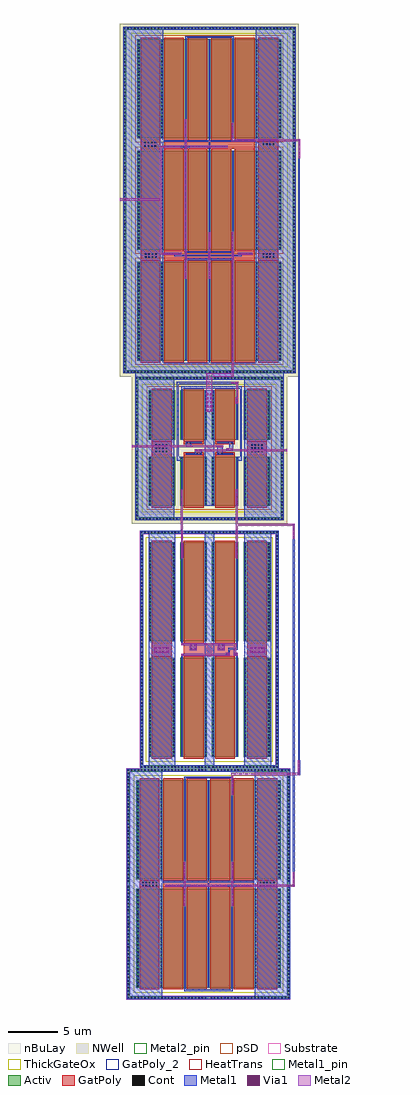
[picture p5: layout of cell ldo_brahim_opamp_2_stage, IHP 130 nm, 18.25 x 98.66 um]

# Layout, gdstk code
from math import pi, radians
import gdstk
lib = gdstk.Library(unit=1e-6, precision=1e-09)
def R(c, l, rs):  # rectangles x0, y0, x1, y1
    for r in rs: c.add(gdstk.rectangle(r[:2], r[2:], *l))
def A(c, l, x, y, w, h, nx, ny, dx, dy):  # array of equal rectangles
    R(c, l, [(x+i*dx, y+j*dy, x+i*dx+w, y+j*dy+h) for i in range(nx) for j in range(ny)])
def P(c, l, *ps):  # polygons
    for p in ps: c.add(gdstk.Polygon(p, *l))
Activ = (1, 0)
GatPoly = (5, 0)
GatPoly_2 = (5, 2)
Cont = (6, 0)
Metal1 = (8, 0)
Metal1_pin = (8, 2)
Metal2 = (10, 0)
Metal2_pin = (10, 2)
pSD = (14, 0)
Via1 = (19, 0)
NWell = (31, 0)
nBuLay = (32, 0)
Substrate = (40, 0)
ThickGateOx = (44, 0)
HeatTrans = (51, 0)

pmoshv_1 = lib.new_cell('pmosHV$1')
R(pmoshv_1, Activ, [(0,0,0.3,0.3), (0,0,2.68,5), (2.38,0,2.68,0.3)])
R(pmoshv_1, GatPoly, [(0.34,-0.18,2.34,5.18)])
R(pmoshv_1, GatPoly_2, [(0.34,-0.18,2.34,5.18)])
A(pmoshv_1, Cont, 0.07, 0.07, 0.16, 0.16, 1, 4, 0, 0.36)
A(pmoshv_1, Cont, 2.45, 0.07, 0.16, 0.16, 1, 4, 0, 0.36)
A(pmoshv_1, Cont, 0.07, 1.515, 0.16, 0.16, 1, 3, 0, 0.36)
A(pmoshv_1, Cont, 2.45, 1.515, 0.16, 0.16, 1, 3, 0, 0.36)
A(pmoshv_1, Cont, 0.07, 2.6, 0.16, 0.16, 1, 3, 0, 0.36)
A(pmoshv_1, Cont, 2.45, 2.6, 0.16, 0.16, 1, 3, 0, 0.36)
A(pmoshv_1, Cont, 0.07, 3.685, 0.16, 0.16, 1, 3, 0, 0.36)
A(pmoshv_1, Cont, 2.45, 3.685, 0.16, 0.16, 1, 3, 0, 0.36)
R(pmoshv_1, Cont, [(0.07,4.77,0.23,4.93), (2.45,4.77,2.61,4.93)])
R(pmoshv_1, Metal1, [(0.07,0,0.23,5), (2.45,0,2.61,5)])
R(pmoshv_1, Metal1_pin, [(0.07,0,0.23,5), (2.45,0,2.61,5)])
R(pmoshv_1, pSD, [(-0.18,-0.4,2.86,5.4)])
R(pmoshv_1, NWell, [(-0.62,-0.62,3.3,5.62)])
R(pmoshv_1, Substrate, [(2.38,0,2.68,0.3)])
R(pmoshv_1, ThickGateOx, [(-0.62,-0.62,3.3,5.62)])
R(pmoshv_1, HeatTrans, [(0.34,-0.18,2.34,5.18)])
pmoshv_1.add(gdstk.Label('pmosHV', (1.34,2.5), layer=63, texttype=0))
pmoshv_1.add(gdstk.Label('pmos', (1.34,2.5), layer=51, texttype=0))

via_stack_5 = lib.new_cell('via_stack$5')
R(via_stack_5, GatPoly, [(-0.83,-0.15,0.83,0.15)])
A(via_stack_5, Cont, -0.76, -0.08, 0.16, 0.16, 5, 1, 0.34, 0)
R(via_stack_5, Metal1, [(-0.81,-0.08,0.81,0.08)])

via_stack_6 = lib.new_cell('via_stack$6')
R(via_stack_6, Metal1, [(-0.35,-0.105,0.35,0.105)])
R(via_stack_6, Metal2, [(-0.35,-0.1,0.35,0.1)])
R(via_stack_6, Via1, [(-0.3,-0.095,-0.11,0.095), (0.11,-0.095,0.3,0.095)])

guard_ring_1 = lib.new_cell('guard_ring$1')
R(guard_ring_1, Activ, [(-7.5,-6.95,-7.2,6.95), (7.2,-6.95,7.5,6.95), (-7.5,6.95,7.5,7.25)])
P(guard_ring_1, Activ, [(-7.5,-7.25),(-7.5,6.95),(-7.2,6.95),(-7.2,-6.95),(7.2,-6.95),(7.2,6.95),(-7.5,6.95),(-7.5,7.25),(7.5,7.25),(7.5,-7.25)])
A(guard_ring_1, Cont, -7.43, -7.18, 0.16, 0.16, 22, 2, 0.34, 14.2)
A(guard_ring_1, Cont, 0.13, -7.18, 0.16, 0.16, 22, 2, 0.34, 14.2)
A(guard_ring_1, Cont, -7.43, -6.84, 0.16, 0.16, 1, 20, 0, 0.34)
A(guard_ring_1, Cont, 7.27, -6.84, 0.16, 0.16, 1, 20, 0, 0.34)
A(guard_ring_1, Cont, -7.43, 0.22, 0.16, 0.16, 1, 20, 0, 0.34)
A(guard_ring_1, Cont, 7.27, 0.22, 0.16, 0.16, 1, 20, 0, 0.34)
R(guard_ring_1, Metal1, [(-7.5,-7.25,7.5,-6.95), (-7.5,-6.95,-7.2,6.95), (7.2,-6.95,7.5,6.95), (-7.5,6.95,7.5,7.25)])
R(guard_ring_1, NWell, [(-7.85,-7.6,7.85,7.6)])
R(guard_ring_1, nBuLay, [(-7.85,-6.6,-6.85,6.6), (6.85,-6.6,7.85,6.6), (-7.85,6.6,7.85,7.6)])
P(guard_ring_1, nBuLay, [(-7.85,-7.6),(-7.85,6.6),(-6.85,6.6),(-6.85,-6.6),(6.85,-6.6),(6.85,6.6),(-7.85,6.6),(-7.85,7.6),(7.85,7.6),(7.85,-7.6)])
guard_ring_1.add(gdstk.Label('well', (0,-7.1), layer=63, texttype=0))

via_stack = lib.new_cell('via_stack')
R(via_stack, Metal1, [(-0.105,-0.555,0.105,0.555)])
R(via_stack, Metal2, [(-0.1,-0.555,0.1,0.555)])
A(via_stack, Via1, -0.095, -0.505, 0.19, 0.19, 1, 3, 0, 0.41)

via_stack_9 = lib.new_cell('via_stack$9')
R(via_stack_9, GatPoly, [(-0.66,-0.49,0.66,0.49)])
A(via_stack_9, Cont, -0.59, -0.42, 0.16, 0.16, 4, 3, 0.34, 0.34)
R(via_stack_9, Metal1, [(-0.64,-0.42,0.64,0.42)])

via_stack_8 = lib.new_cell('via_stack$8')
R(via_stack_8, Metal1, [(-0.31,-0.965,0.31,0.965)])
R(via_stack_8, Metal2, [(-0.305,-0.965,0.305,0.965)])
A(via_stack_8, Via1, -0.3, -0.915, 0.19, 0.19, 1, 5, 0, 0.41)
A(via_stack_8, Via1, 0.11, -0.915, 0.19, 0.19, 1, 5, 0, 0.41)

via_stack_23 = lib.new_cell('via_stack$23')
R(via_stack_23, Metal1, [(-0.76,-0.105,0.76,0.105)])
R(via_stack_23, Metal2, [(-0.76,-0.1,0.76,0.1)])
A(via_stack_23, Via1, -0.71, -0.095, 0.19, 0.19, 4, 1, 0.41, 0)

via_stack_22 = lib.new_cell('via_stack$22')
R(via_stack_22, Metal1, [(-0.105,-0.35,0.105,0.35)])
R(via_stack_22, Metal2, [(-0.1,-0.35,0.1,0.35)])
R(via_stack_22, Via1, [(-0.095,-0.3,0.095,-0.11), (-0.095,0.11,0.095,0.3)])

ldo_brahim_pair_diff = lib.new_cell('ldo_brahim_pair_diff')
R(ldo_brahim_pair_diff, GatPoly, [(7.375,-1.01,9.375,0.575), (-2.235,-0.975,-0.235,0.555), (0.985,-0.92,2.985,-0.635), (4.155,-0.92,6.155,-0.635), (0.985,0.2,2.985,0.485), (4.155,0.2,6.155,0.485)])
R(ldo_brahim_pair_diff, Metal1, [(-3.93,-7.485,0.035,7.015), (7.105,-7.485,11.07,7.015), (3.095,-6.055,4.045,5.63), (0.285,-1.485,0.875,-1.055), (0.285,-1.485,0.465,6.03), (6.265,-1.485,6.855,-1.055), (6.675,-1.485,6.855,6.49), (2.235,-0.865,2.785,0.01), (4.335,-0.865,5.05,-0.315), (1.165,-0.435,1.575,0.43), (5.405,-0.04,5.955,0.43), (6.265,5.48,6.425,6.03), (0.285,5.81,6.415,6.03), (0.715,6.27,6.855,6.49)])
R(ldo_brahim_pair_diff, Metal1_pin, [(1.065,6.715,6.78,7.015)])
R(ldo_brahim_pair_diff, Metal2, [(0.695,-7.835,0.895,-5.67), (6.24,-7.835,6.44,-4.855), (-4.28,-0.53,1.62,-0.33), (1.165,-0.53,4.885,-0.33), (2.235,-0.115,5.955,0.085), (5.59,-0.115,11.42,0.085), (0.65,4.285,0.875,6.48), (3.265,5.345,3.875,7.365)])
P(ldo_brahim_pair_diff, Metal2, [(0.6,-7.88),(0.6,-7.88),(0.6,-7.88),(0.6,-7.88)])
R(ldo_brahim_pair_diff, Metal2_pin, [(0.695,-7.835,0.895,-7.63), (6.24,-7.835,6.44,-7.625), (-4.28,-0.53,-4.025,-0.33), (11.165,-0.115,11.42,0.085), (3.265,7.07,3.875,7.365)])
R(ldo_brahim_pair_diff, pSD, [(-2.755,-6.455,9.895,6.03)])
R(ldo_brahim_pair_diff, NWell, [(-3.195,-1.405,10.335,0.51)])
R(ldo_brahim_pair_diff, ThickGateOx, [(-3.195,-6.675,10.335,6.25)])
ldo_brahim_pair_diff.add(gdstk.Reference(pmoshv_1, (0.645,0.63)))
ldo_brahim_pair_diff.add(gdstk.Reference(pmoshv_1, (3.815,0.63)))
ldo_brahim_pair_diff.add(gdstk.Reference(pmoshv_1, (-2.575,0.63)))
ldo_brahim_pair_diff.add(gdstk.Reference(pmoshv_1, (7.035,0.63)))
ldo_brahim_pair_diff.add(gdstk.Reference(pmoshv_1, (0.645,-6.055)))
ldo_brahim_pair_diff.add(gdstk.Reference(pmoshv_1, (3.815,-6.055)))
ldo_brahim_pair_diff.add(gdstk.Reference(pmoshv_1, (-2.575,-6.055)))
ldo_brahim_pair_diff.add(gdstk.Reference(pmoshv_1, (7.035,-6.055)))
ldo_brahim_pair_diff.add(gdstk.Reference(via_stack_5, (1.975,0.35)))
ldo_brahim_pair_diff.add(gdstk.Reference(via_stack_5, (5.145,0.35)))
ldo_brahim_pair_diff.add(gdstk.Reference(via_stack_5, (5.145,-0.785), x_reflection=True))
ldo_brahim_pair_diff.add(gdstk.Reference(via_stack_5, (1.975,-0.785), x_reflection=True))
ldo_brahim_pair_diff.add(gdstk.Reference(via_stack_6, (2.52,-0.015)))
ldo_brahim_pair_diff.add(gdstk.Reference(via_stack_6, (5.605,-0.015)))
ldo_brahim_pair_diff.add(gdstk.Reference(via_stack_6, (4.685,-0.43)))
ldo_brahim_pair_diff.add(gdstk.Reference(guard_ring_1, (3.57,-0.235)))
ldo_brahim_pair_diff.add(gdstk.Reference(via_stack, (6.34,-4.95)))
ldo_brahim_pair_diff.add(gdstk.Reference(via_stack_9, (-1.24,-0.21)))
ldo_brahim_pair_diff.add(gdstk.Reference(via_stack_9, (8.425,-0.21)))
ldo_brahim_pair_diff.add(gdstk.Reference(via_stack_8, (3.57,4.42)))
ldo_brahim_pair_diff.add(gdstk.Reference(via_stack_23, (0.795,-5.125), rotation=3*pi/2))
ldo_brahim_pair_diff.add(gdstk.Reference(via_stack_6, (1.515,-0.33)))
ldo_brahim_pair_diff.add(gdstk.Reference(via_stack_22, (1,6.38), rotation=pi/2))
ldo_brahim_pair_diff.add(gdstk.Reference(via_stack_22, (0.78,4.635), rotation=pi))
ldo_brahim_pair_diff.add(gdstk.Label('IOVDD', (4.935,7.015), layer=8, texttype=2))
ldo_brahim_pair_diff.add(gdstk.Label('VN', (-4.045,-0.43), layer=10, texttype=2))
ldo_brahim_pair_diff.add(gdstk.Label('tail', (3.57,7.365), layer=10, texttype=2))
ldo_brahim_pair_diff.add(gdstk.Label('VP', (11.42,-0.015), layer=10, texttype=2))
ldo_brahim_pair_diff.add(gdstk.Label('VG', (0.793,-7.835), layer=10, texttype=2))
ldo_brahim_pair_diff.add(gdstk.Label('VX2', (6.34,-7.835), layer=10, texttype=2))

nmoshv = lib.new_cell('nmosHV')
R(nmoshv, Activ, [(0,0,0.3,0.3), (0,0,2.68,10), (2.38,0,2.68,0.3)])
R(nmoshv, GatPoly, [(0.34,-0.18,2.34,10.18)])
R(nmoshv, GatPoly_2, [(0.34,-0.18,2.34,10.18)])
A(nmoshv, Cont, 0.07, 0.07, 0.16, 0.16, 1, 4, 0, 0.345)
A(nmoshv, Cont, 2.45, 0.07, 0.16, 0.16, 1, 4, 0, 0.345)
A(nmoshv, Cont, 0.07, 1.455, 0.16, 0.16, 1, 3, 0, 0.345)
A(nmoshv, Cont, 2.45, 1.455, 0.16, 0.16, 1, 3, 0, 0.345)
A(nmoshv, Cont, 0.07, 2.495, 0.16, 0.16, 1, 4, 0, 0.345)
A(nmoshv, Cont, 2.45, 2.495, 0.16, 0.16, 1, 4, 0, 0.345)
A(nmoshv, Cont, 0.07, 3.88, 0.16, 0.16, 1, 3, 0, 0.345)
A(nmoshv, Cont, 2.45, 3.88, 0.16, 0.16, 1, 3, 0, 0.345)
A(nmoshv, Cont, 0.07, 4.92, 0.16, 0.16, 1, 4, 0, 0.345)
A(nmoshv, Cont, 2.45, 4.92, 0.16, 0.16, 1, 4, 0, 0.345)
A(nmoshv, Cont, 0.07, 6.305, 0.16, 0.16, 1, 3, 0, 0.345)
A(nmoshv, Cont, 2.45, 6.305, 0.16, 0.16, 1, 3, 0, 0.345)
A(nmoshv, Cont, 0.07, 7.345, 0.16, 0.16, 1, 4, 0, 0.345)
A(nmoshv, Cont, 2.45, 7.345, 0.16, 0.16, 1, 4, 0, 0.345)
A(nmoshv, Cont, 0.07, 8.73, 0.16, 0.16, 1, 3, 0, 0.345)
A(nmoshv, Cont, 2.45, 8.73, 0.16, 0.16, 1, 3, 0, 0.345)
R(nmoshv, Cont, [(0.07,9.77,0.23,9.93), (2.45,9.77,2.61,9.93)])
R(nmoshv, Metal1, [(0.07,0,0.23,10), (2.45,0,2.61,10)])
R(nmoshv, Metal1_pin, [(0.07,0,0.23,10), (2.45,0,2.61,10)])
R(nmoshv, ThickGateOx, [(-0.27,-0.52,2.95,10.52)])
R(nmoshv, HeatTrans, [(0.34,-0.18,2.34,10.18)])
nmoshv.add(gdstk.Label('nmosHV', (1.34,5), layer=63, texttype=0))
nmoshv.add(gdstk.Label('nmosHV', (1.34,5), layer=51, texttype=0))

via_stack_1 = lib.new_cell('via_stack$1')
R(via_stack_1, GatPoly, [(-0.32,-0.32,0.32,0.32)])
R(via_stack_1, Cont, [(-0.25,-0.25,-0.09,-0.09), (0.09,-0.25,0.25,-0.09), (-0.25,0.09,-0.09,0.25), (0.09,0.09,0.25,0.25)])
R(via_stack_1, Metal1, [(-0.35,-0.31,0.35,0.31)])
R(via_stack_1, Metal2, [(-0.35,-0.305,0.35,0.305)])
R(via_stack_1, Via1, [(-0.3,-0.3,-0.11,-0.11), (0.11,-0.3,0.3,-0.11), (-0.3,0.11,-0.11,0.3), (0.11,0.11,0.3,0.3)])

via_stack_3 = lib.new_cell('via_stack$3')
R(via_stack_3, Metal1, [(-0.145,-0.105,0.145,0.105)])
R(via_stack_3, Metal2, [(-0.145,-0.1,0.145,0.1)])
R(via_stack_3, Via1, [(-0.095,-0.095,0.095,0.095)])

via_stack_2 = lib.new_cell('via_stack$2')
R(via_stack_2, GatPoly, [(-0.66,-0.32,0.66,0.32)])
A(via_stack_2, Cont, -0.59, -0.25, 0.16, 0.16, 4, 2, 0.34, 0.34)
R(via_stack_2, Metal1, [(-0.76,-0.31,0.76,0.31)])
R(via_stack_2, Metal2, [(-0.76,-0.305,0.76,0.305)])
A(via_stack_2, Via1, -0.71, -0.3, 0.19, 0.19, 4, 2, 0.41, 0.41)

via_stack_4 = lib.new_cell('via_stack$4')
R(via_stack_4, Metal1, [(-0.105,-0.76,0.105,0.76)])
R(via_stack_4, Metal2, [(-0.1,-0.76,0.1,0.76)])
A(via_stack_4, Via1, -0.095, -0.71, 0.19, 0.19, 1, 4, 0, 0.41)

guard_ring = lib.new_cell('guard_ring')
R(guard_ring, Activ, [(-7,-11.7,-6.7,11.7), (6.7,-11.7,7,11.7), (-7,11.7,7,12)])
P(guard_ring, Activ, [(-7,-12),(-7,11.7),(-6.7,11.7),(-6.7,-11.7),(6.7,-11.7),(6.7,11.7),(-7,11.7),(-7,12),(7,12),(7,-12)])
A(guard_ring, Cont, -6.93, -11.93, 0.16, 0.16, 20, 2, 0.34, 23.7)
A(guard_ring, Cont, -0.03, -11.93, 0.16, 0.16, 21, 2, 0.34, 23.7)
A(guard_ring, Cont, -6.93, -11.59, 0.16, 0.16, 1, 34, 0, 0.34)
A(guard_ring, Cont, 6.77, -11.59, 0.16, 0.16, 1, 34, 0, 0.34)
A(guard_ring, Cont, -6.93, 0.21, 0.16, 0.16, 1, 34, 0, 0.34)
A(guard_ring, Cont, 6.77, 0.21, 0.16, 0.16, 1, 34, 0, 0.34)
R(guard_ring, Metal1, [(-7,-12,7,-11.7), (-7,-11.7,-6.7,11.7), (6.7,-11.7,7,11.7), (-7,11.7,7,12)])
R(guard_ring, pSD, [(-7.03,-11.67,-6.67,11.67), (6.67,-11.67,7.03,11.67), (-7.03,11.67,7.03,12.03)])
P(guard_ring, pSD, [(-7.03,-12.03),(-7.03,11.67),(-6.67,11.67),(-6.67,-11.67),(6.67,-11.67),(6.67,11.67),(-7.03,11.67),(-7.03,12.03),(7.03,12.03),(7.03,-12.03)])
R(guard_ring, Substrate, [(-7.03,-11.67,-6.67,11.67), (6.67,-11.67,7.03,11.67), (-7.03,11.67,7.03,12.03)])
P(guard_ring, Substrate, [(-7.03,-12.03),(-7.03,11.67),(-6.67,11.67),(-6.67,-11.67),(6.67,-11.67),(6.67,11.67),(-7.03,11.67),(-7.03,12.03),(7.03,12.03),(7.03,-12.03)])
guard_ring.add(gdstk.Label('sub!', (0,-11.85), layer=63, texttype=0))

ldo_brahim_mirror = lib.new_cell('ldo_brahim_mirror')
R(ldo_brahim_mirror, GatPoly, [(10.235,10.585,12.235,12.155), (0.625,10.59,2.625,12.15), (3.845,10.705,9.015,12.03)])
R(ldo_brahim_mirror, Metal1, [(5.955,-0.635,6.905,23.365), (0.19,-0.485,2.91,23.295), (9.865,-0.485,12.585,23.295), (9.125,10.3,9.285,10.77), (3.575,10.435,3.735,11.045), (3.575,10.74,3.97,11.045), (4.375,10.74,4.545,11.54), (4.375,10.74,4.77,11.045), (3.575,11.37,3.735,12.575), (3.575,11.37,4.545,11.54), (9.125,11.8,9.285,12.27)])
R(ldo_brahim_mirror, Metal1_pin, [(5.275,-0.635,7.835,-0.335)])
R(ldo_brahim_mirror, Metal2, [(3.575,10.74,3.97,11.045), (3.735,10.74,3.97,11.995), (4.375,10.74,9.285,10.94), (4.375,10.74,4.77,11.045), (3.735,11.795,9.285,11.995), (3.545,22.005,3.745,23.555), (9.1,22.005,9.3,23.555)])
R(ldo_brahim_mirror, Metal2_pin, [(3.545,23.395,3.745,23.555), (9.1,23.395,9.3,23.555)])
R(ldo_brahim_mirror, ThickGateOx, [(0.015,0.005,12.845,22.73)])
ldo_brahim_mirror.add(gdstk.Reference(nmoshv, (3.505,12.21)))
ldo_brahim_mirror.add(gdstk.Reference(nmoshv, (6.675,12.21)))
ldo_brahim_mirror.add(gdstk.Reference(nmoshv, (3.505,0.525)))
ldo_brahim_mirror.add(gdstk.Reference(nmoshv, (6.675,0.525)))
ldo_brahim_mirror.add(gdstk.Reference(nmoshv, (9.895,12.21)))
ldo_brahim_mirror.add(gdstk.Reference(nmoshv, (9.895,0.525)))
ldo_brahim_mirror.add(gdstk.Reference(nmoshv, (0.285,12.21)))
ldo_brahim_mirror.add(gdstk.Reference(nmoshv, (0.285,0.525)))
ldo_brahim_mirror.add(gdstk.Reference(via_stack_1, (8.07,11.62)))
ldo_brahim_mirror.add(gdstk.Reference(via_stack_3, (3.78,10.89)))
ldo_brahim_mirror.add(gdstk.Reference(via_stack_3, (4.58,10.89)))
ldo_brahim_mirror.add(gdstk.Reference(via_stack_3, (9.155,11.895)))
ldo_brahim_mirror.add(gdstk.Reference(via_stack_3, (9.155,10.84)))
ldo_brahim_mirror.add(gdstk.Reference(via_stack_1, (5.25,11.62)))
ldo_brahim_mirror.add(gdstk.Reference(via_stack_2, (11.27,11.36)))
ldo_brahim_mirror.add(gdstk.Reference(via_stack_2, (1.595,11.36)))
ldo_brahim_mirror.add(gdstk.Reference(via_stack_4, (9.2,21.345)))
ldo_brahim_mirror.add(gdstk.Reference(via_stack_4, (3.645,21.345)))
ldo_brahim_mirror.add(gdstk.Reference(guard_ring, (6.435,11.365)))
ldo_brahim_mirror.add(gdstk.Label('VSS', (6.43,-0.635), layer=8, texttype=2))
ldo_brahim_mirror.add(gdstk.Label('i_ref', (9.2,23.555), layer=10, texttype=2))
ldo_brahim_mirror.add(gdstk.Label('i_cpy', (3.645,23.555), layer=10, texttype=2))

pmoshv = lib.new_cell('pmosHV')
A(pmoshv, Activ, 0, 0, 0.3, 0.3, 7, 1, 2.38, 0)
R(pmoshv, Activ, [(0,0,14.58,10)])
A(pmoshv, GatPoly, 0.34, -0.18, 2, 10.36, 6, 1, 2.38, 0)
R(pmoshv, GatPoly_2, [(0.34,-0.18,2.34,10.18)])
A(pmoshv, Cont, 0.07, 0.07, 0.16, 0.16, 7, 4, 2.38, 0.345)
A(pmoshv, Cont, 0.07, 1.455, 0.16, 0.16, 7, 3, 2.38, 0.345)
A(pmoshv, Cont, 0.07, 2.495, 0.16, 0.16, 7, 4, 2.38, 0.345)
A(pmoshv, Cont, 0.07, 3.88, 0.16, 0.16, 7, 3, 2.38, 0.345)
A(pmoshv, Cont, 0.07, 4.92, 0.16, 0.16, 7, 4, 2.38, 0.345)
A(pmoshv, Cont, 0.07, 6.305, 0.16, 0.16, 7, 3, 2.38, 0.345)
A(pmoshv, Cont, 0.07, 7.345, 0.16, 0.16, 7, 4, 2.38, 0.345)
A(pmoshv, Cont, 0.07, 8.73, 0.16, 0.16, 7, 3, 2.38, 0.345)
A(pmoshv, Cont, 0.07, 9.77, 0.16, 0.16, 7, 1, 2.38, 0)
A(pmoshv, Metal1, 0.07, 0, 0.16, 10, 7, 1, 2.38, 0)
R(pmoshv, Metal1_pin, [(0.07,0,0.23,10), (2.45,0,2.61,10)])
R(pmoshv, pSD, [(-0.18,-0.4,14.76,10.4)])
R(pmoshv, NWell, [(-0.62,-0.62,15.2,10.62)])
R(pmoshv, Substrate, [(14.28,0,14.58,0.3)])
R(pmoshv, ThickGateOx, [(-0.62,-0.62,15.2,10.62)])
A(pmoshv, HeatTrans, 0.34, -0.18, 2, 10.36, 6, 1, 2.38, 0)
pmoshv.add(gdstk.Label('pmosHV', (1.34,5), layer=63, texttype=0))
pmoshv.add(gdstk.Label('pmos', (1.34,5), layer=51, texttype=0))
pmoshv.add(gdstk.Label('pmos', (3.72,5), layer=51, texttype=0))
pmoshv.add(gdstk.Label('pmos', (6.1,5), layer=51, texttype=0))
pmoshv.add(gdstk.Label('pmos', (8.48,5), layer=51, texttype=0))
pmoshv.add(gdstk.Label('pmos', (10.86,5), layer=51, texttype=0))
pmoshv.add(gdstk.Label('pmos', (13.24,5), layer=51, texttype=0))

via_stack_14 = lib.new_cell('via_stack$14')
R(via_stack_14, GatPoly, [(-0.66,-0.15,0.66,0.15)])
A(via_stack_14, Cont, -0.59, -0.08, 0.16, 0.16, 4, 1, 0.34, 0)
R(via_stack_14, Metal1, [(-0.76,-0.105,0.76,0.105)])
R(via_stack_14, Metal2, [(-0.76,-0.1,0.76,0.1)])
A(via_stack_14, Via1, -0.71, -0.095, 0.19, 0.19, 4, 1, 0.41, 0)

via_stack_10 = lib.new_cell('via_stack$10')
R(via_stack_10, GatPoly, [(-0.66,-0.32,0.66,0.32)])
A(via_stack_10, Cont, -0.59, -0.25, 0.16, 0.16, 4, 2, 0.34, 0.34)
R(via_stack_10, Metal1, [(-0.64,-0.25,0.64,0.25)])

guard_ring_3 = lib.new_cell('guard_ring$3')
R(guard_ring_3, Activ, [(-8.71,-17.2,-8.41,17.2), (8.41,-17.2,8.71,17.2), (-8.71,17.2,8.71,17.5)])
P(guard_ring_3, Activ, [(-8.71,-17.5),(-8.71,17.2),(-8.41,17.2),(-8.41,-17.2),(8.41,-17.2),(8.41,17.2),(-8.71,17.2),(-8.71,17.5),(8.71,17.5),(8.71,-17.5)])
A(guard_ring_3, Cont, -8.64, -17.43, 0.16, 0.16, 25, 2, 0.34, 34.7)
A(guard_ring_3, Cont, -0.02, -17.43, 0.16, 0.16, 26, 2, 0.34, 34.7)
A(guard_ring_3, Cont, -8.64, -17.09, 0.16, 0.16, 1, 50, 0, 0.34)
A(guard_ring_3, Cont, 8.48, -17.09, 0.16, 0.16, 1, 50, 0, 0.34)
A(guard_ring_3, Cont, -8.64, -0.07, 0.16, 0.16, 1, 51, 0, 0.34)
A(guard_ring_3, Cont, 8.48, -0.07, 0.16, 0.16, 1, 51, 0, 0.34)
R(guard_ring_3, Metal1, [(-8.71,-17.5,8.71,-17.2), (-8.71,-17.2,-8.41,17.2), (8.41,-17.2,8.71,17.2), (-8.71,17.2,8.71,17.5)])
R(guard_ring_3, NWell, [(-9.06,-17.85,9.06,17.85)])
R(guard_ring_3, nBuLay, [(-9.06,-16.85,-8.06,16.85), (8.06,-16.85,9.06,16.85), (-9.06,16.85,9.06,17.85)])
P(guard_ring_3, nBuLay, [(-9.06,-17.85),(-9.06,16.85),(-8.06,16.85),(-8.06,-16.85),(8.06,-16.85),(8.06,16.85),(-9.06,16.85),(-9.06,17.85),(9.06,17.85),(9.06,-17.85)])
guard_ring_3.add(gdstk.Label('well', (0,-17.35), layer=63, texttype=0))

via_stack_12 = lib.new_cell('via_stack$12')
R(via_stack_12, GatPoly, [(-2.53,-0.15,2.53,0.15)])
A(via_stack_12, Cont, -2.46, -0.08, 0.16, 0.16, 15, 1, 0.34, 0)
R(via_stack_12, Metal1, [(-2.51,-0.08,2.51,0.08)])

ldo_brahim_tail = lib.new_cell('ldo_brahim_tail')
R(ldo_brahim_tail, GatPoly, [(4.95,-6.16,6.95,-5.07), (-6.95,-6.15,-4.95,-5.095), (-4.57,-6.06,4.57,-5.18), (4.95,5.055,6.95,6.135), (-6.95,5.08,-4.95,6.17), (-4.57,5.18,4.57,6.06)])
R(ldo_brahim_tail, Metal1, [(-8.71,-17.5,-4.68,17.43), (4.68,-17.5,8.71,17.43), (-4.84,-17.47,4.86,-16.46), (-4.84,-16.58,4.84,-16.42), (-4.84,-16.58,-4.68,-16.04), (-0.08,-16.58,0.08,-16.09), (4.68,-16.58,4.84,-16.03), (4.68,-6.97,4.84,-4.3), (-2.46,-6.875,-2.3,-5.9), (-4.84,-6.645,-4.68,-4.625), (2.3,-6.61,2.46,-5.9), (-2.46,-6.06,2.46,-5.9), (-3.535,-5.69,-2.19,-5.53), (2.42,-5.69,3.29,-5.53), (-2.46,-5.34,2.46,-5.18), (-2.46,-5.34,-2.3,-4.365), (2.3,-5.34,2.46,-4.63), (-4.84,4.645,-4.68,6.61), (4.68,4.645,4.84,6.61), (-0.08,4.755,0.08,6.44), (-3.675,5.3,-1.66,5.51), (-4.84,5.9,4.84,6.06), (-2.46,15.86,-2.3,16.58), (2.3,15.905,2.46,16.58), (-2.46,16.42,2.46,16.58)])
R(ldo_brahim_tail, Metal1_pin, [(-4.92,17.2,0.36,17.5)])
R(ldo_brahim_tail, Metal2, [(2.28,-17.85,2.48,-4.575), (-0.1,-7.625,0.1,-4.435), (-2.495,-6.74,-2.265,8.05), (-5.025,-5.54,-4.795,5.505), (-5.025,-5.54,-3.87,-5.34), (-9.06,-0.065,-4.795,0.185), (-5.025,5.305,-4.045,5.505), (-0.645,5.305,0.56,5.505), (2.28,5.935,2.48,6.675), (2.28,5.935,9.06,6.135)])
R(ldo_brahim_tail, Metal2_pin, [(2.28,-17.85,2.48,-17.635), (-9.06,-0.065,-8.805,0.185), (8.805,5.935,9.06,6.135)])
ldo_brahim_tail.add(gdstk.Reference(pmoshv, (-7.29,-5)))
ldo_brahim_tail.add(gdstk.Reference(pmoshv, (-7.29,-16.24)))
ldo_brahim_tail.add(gdstk.Reference(via_stack_14, (-3.725,5.405)))
ldo_brahim_tail.add(gdstk.Reference(via_stack_14, (1.1,5.405)))
ldo_brahim_tail.add(gdstk.Reference(via_stack_10, (5.97,5.815)))
ldo_brahim_tail.add(gdstk.Reference(via_stack_10, (-5.98,5.635)))
ldo_brahim_tail.add(gdstk.Reference(via_stack_10, (-5.92,-5.6)))
ldo_brahim_tail.add(gdstk.Reference(pmoshv, (-7.29,6.24)))
ldo_brahim_tail.add(gdstk.Reference(guard_ring_3, (0,0)))
ldo_brahim_tail.add(gdstk.Reference(via_stack_14, (-3.535,-5.44)))
ldo_brahim_tail.add(gdstk.Reference(via_stack_14, (3.625,-5.43)))
ldo_brahim_tail.add(gdstk.Reference(via_stack_12, (0.06,-5.61)))
ldo_brahim_tail.add(gdstk.Reference(via_stack_4, (0,-4.03)))
ldo_brahim_tail.add(gdstk.Reference(via_stack_4, (0,-7.215)))
ldo_brahim_tail.add(gdstk.Reference(via_stack_10, (5.97,-5.6)))
ldo_brahim_tail.add(gdstk.Reference(via_stack_4, (-2.375,-7.215)))
ldo_brahim_tail.add(gdstk.Reference(via_stack_4, (-2.375,7.435)))
ldo_brahim_tail.add(gdstk.Reference(via_stack_4, (2.38,7.08), x_reflection=True))
ldo_brahim_tail.add(gdstk.Reference(via_stack_4, (2.38,-3.98)))
ldo_brahim_tail.add(gdstk.Reference(via_stack_14, (-1.195,5.405)))
ldo_brahim_tail.add(gdstk.Label('IOVDD', (-2.505,17.5), layer=8, texttype=2))
ldo_brahim_tail.add(gdstk.Label('I_Bias', (-9.06,0.06), layer=10, texttype=2))
ldo_brahim_tail.add(gdstk.Label('VOUT', (9.06,6.035), layer=10, texttype=2))
ldo_brahim_tail.add(gdstk.Label('tail', (2.38,-17.845), layer=10, texttype=2))

nmoshv_5 = lib.new_cell('nmosHV$5')
A(nmoshv_5, Activ, 0, 0, 0.3, 0.3, 7, 1, 2.38, 0)
R(nmoshv_5, Activ, [(0,0,14.58,10)])
A(nmoshv_5, GatPoly, 0.34, -0.18, 2, 10.36, 6, 1, 2.38, 0)
R(nmoshv_5, GatPoly_2, [(0.34,-0.18,2.34,10.18)])
A(nmoshv_5, Cont, 0.07, 0.07, 0.16, 0.16, 7, 4, 2.38, 0.345)
A(nmoshv_5, Cont, 0.07, 1.455, 0.16, 0.16, 7, 3, 2.38, 0.345)
A(nmoshv_5, Cont, 0.07, 2.495, 0.16, 0.16, 7, 4, 2.38, 0.345)
A(nmoshv_5, Cont, 0.07, 3.88, 0.16, 0.16, 7, 3, 2.38, 0.345)
A(nmoshv_5, Cont, 0.07, 4.92, 0.16, 0.16, 7, 4, 2.38, 0.345)
A(nmoshv_5, Cont, 0.07, 6.305, 0.16, 0.16, 7, 3, 2.38, 0.345)
A(nmoshv_5, Cont, 0.07, 7.345, 0.16, 0.16, 7, 4, 2.38, 0.345)
A(nmoshv_5, Cont, 0.07, 8.73, 0.16, 0.16, 7, 3, 2.38, 0.345)
A(nmoshv_5, Cont, 0.07, 9.77, 0.16, 0.16, 7, 1, 2.38, 0)
A(nmoshv_5, Metal1, 0.07, 0, 0.16, 10, 7, 1, 2.38, 0)
R(nmoshv_5, Metal1_pin, [(0.07,0,0.23,10), (2.45,0,2.61,10)])
R(nmoshv_5, ThickGateOx, [(-0.27,-0.52,14.85,10.52)])
A(nmoshv_5, HeatTrans, 0.34, -0.18, 2, 10.36, 6, 1, 2.38, 0)
nmoshv_5.add(gdstk.Label('nmosHV', (1.34,5), layer=63, texttype=0))
nmoshv_5.add(gdstk.Label('nmosHV', (1.34,5), layer=51, texttype=0))
nmoshv_5.add(gdstk.Label('nmosHV', (3.72,5), layer=51, texttype=0))
nmoshv_5.add(gdstk.Label('nmosHV', (6.1,5), layer=51, texttype=0))
nmoshv_5.add(gdstk.Label('nmosHV', (8.48,5), layer=51, texttype=0))
nmoshv_5.add(gdstk.Label('nmosHV', (10.86,5), layer=51, texttype=0))
nmoshv_5.add(gdstk.Label('nmosHV', (13.24,5), layer=51, texttype=0))

nmoshv_2 = lib.new_cell('nmosHV$2')
A(nmoshv_2, Activ, 0, 0, 0.3, 0.3, 7, 1, 2.38, 0)
R(nmoshv_2, Activ, [(0,0,14.58,10)])
A(nmoshv_2, GatPoly, 0.34, -0.18, 2, 10.36, 6, 1, 2.38, 0)
R(nmoshv_2, GatPoly_2, [(0.34,-0.18,2.34,10.18)])
A(nmoshv_2, Cont, 0.07, 0.07, 0.16, 0.16, 7, 4, 2.38, 0.345)
A(nmoshv_2, Cont, 0.07, 1.455, 0.16, 0.16, 7, 3, 2.38, 0.345)
A(nmoshv_2, Cont, 0.07, 2.495, 0.16, 0.16, 7, 4, 2.38, 0.345)
A(nmoshv_2, Cont, 0.07, 3.88, 0.16, 0.16, 7, 3, 2.38, 0.345)
A(nmoshv_2, Cont, 0.07, 4.92, 0.16, 0.16, 7, 4, 2.38, 0.345)
A(nmoshv_2, Cont, 0.07, 6.305, 0.16, 0.16, 7, 3, 2.38, 0.345)
A(nmoshv_2, Cont, 0.07, 7.345, 0.16, 0.16, 7, 4, 2.38, 0.345)
A(nmoshv_2, Cont, 0.07, 8.73, 0.16, 0.16, 7, 3, 2.38, 0.345)
A(nmoshv_2, Cont, 0.07, 9.77, 0.16, 0.16, 7, 1, 2.38, 0)
A(nmoshv_2, Metal1, 0.07, 0, 0.16, 10, 7, 1, 2.38, 0)
R(nmoshv_2, Metal1_pin, [(0.07,0,0.23,10), (2.45,0,2.61,10)])
R(nmoshv_2, ThickGateOx, [(-0.27,-0.52,14.85,10.52)])
A(nmoshv_2, HeatTrans, 0.34, -0.18, 2, 10.36, 6, 1, 2.38, 0)
nmoshv_2.add(gdstk.Label('nmosHV', (1.34,5), layer=63, texttype=0))
nmoshv_2.add(gdstk.Label('nmosHV', (1.34,5), layer=51, texttype=0))
nmoshv_2.add(gdstk.Label('nmosHV', (3.72,5), layer=51, texttype=0))
nmoshv_2.add(gdstk.Label('nmosHV', (6.1,5), layer=51, texttype=0))
nmoshv_2.add(gdstk.Label('nmosHV', (8.48,5), layer=51, texttype=0))
nmoshv_2.add(gdstk.Label('nmosHV', (10.86,5), layer=51, texttype=0))
nmoshv_2.add(gdstk.Label('nmosHV', (13.24,5), layer=51, texttype=0))

via_stack_16 = lib.new_cell('via_stack$16')
R(via_stack_16, GatPoly, [(-0.83,-0.32,0.83,0.32)])
A(via_stack_16, Cont, -0.76, -0.25, 0.16, 0.16, 5, 2, 0.34, 0.34)
R(via_stack_16, Metal1, [(-0.81,-0.25,0.81,0.25)])

guard_ring_5 = lib.new_cell('guard_ring$5')
R(guard_ring_5, Activ, [(-8.26,-11.35,-7.96,11.35), (7.96,-11.35,8.26,11.35), (-8.26,11.35,8.26,11.65)])
P(guard_ring_5, Activ, [(-8.26,-11.65),(-8.26,11.35),(-7.96,11.35),(-7.96,-11.35),(7.96,-11.35),(7.96,11.35),(-8.26,11.35),(-8.26,11.65),(8.26,11.65),(8.26,-11.65)])
A(guard_ring_5, Cont, -8.19, -11.58, 0.16, 0.16, 24, 2, 0.34, 23)
A(guard_ring_5, Cont, 0.21, -11.58, 0.16, 0.16, 24, 2, 0.34, 23)
A(guard_ring_5, Cont, -8.19, -11.24, 0.16, 0.16, 1, 33, 0, 0.34)
A(guard_ring_5, Cont, 8.03, -11.24, 0.16, 0.16, 1, 33, 0, 0.34)
A(guard_ring_5, Cont, -8.19, 0.2, 0.16, 0.16, 1, 33, 0, 0.34)
A(guard_ring_5, Cont, 8.03, 0.2, 0.16, 0.16, 1, 33, 0, 0.34)
R(guard_ring_5, Metal1, [(-8.26,-11.65,8.26,-11.35), (-8.26,-11.35,-7.96,11.35), (7.96,-11.35,8.26,11.35), (-8.26,11.35,8.26,11.65)])
R(guard_ring_5, pSD, [(-8.29,-11.32,-7.93,11.32), (7.93,-11.32,8.29,11.32), (-8.29,11.32,8.29,11.68)])
P(guard_ring_5, pSD, [(-8.29,-11.68),(-8.29,11.32),(-7.93,11.32),(-7.93,-11.32),(7.93,-11.32),(7.93,11.32),(-8.29,11.32),(-8.29,11.68),(8.29,11.68),(8.29,-11.68)])
R(guard_ring_5, Substrate, [(-8.29,-11.32,-7.93,11.32), (7.93,-11.32,8.29,11.32), (-8.29,11.32,8.29,11.68)])
P(guard_ring_5, Substrate, [(-8.29,-11.68),(-8.29,11.32),(-7.93,11.32),(-7.93,-11.32),(7.93,-11.32),(7.93,11.32),(-8.29,11.32),(-8.29,11.68),(8.29,11.68),(8.29,-11.68)])
guard_ring_5.add(gdstk.Label('sub!', (0,-11.5), layer=63, texttype=0))

ldo_brahim_cs = lib.new_cell('ldo_brahim_cs')
R(ldo_brahim_cs, GatPoly, [(-6.95,-0.4,-4.95,0.35), (4.95,-0.385,6.95,0.39), (-4.57,-0.305,4.57,0.305)])
R(ldo_brahim_cs, Metal1, [(-8.26,-11.65,-4.68,11.65), (-1.875,-11.65,1.51,-11.35), (4.68,-11.65,8.26,11.65), (-2.46,-10.825,2.46,-10.665), (-2.46,-10.825,-2.3,-10.205), (2.3,-10.825,2.46,-10.215), (-4.84,-1.035,-4.68,0.98), (4.68,-0.985,4.84,0.825), (-0.08,-0.945,0.08,0.905), (-3,-0.275,-1.29,-0.065), (1.83,-0.275,3.435,-0.065), (-4.84,0.145,4.84,0.305), (-2.46,10.205,-2.3,10.825), (2.3,10.215,2.46,10.825), (-2.46,10.665,2.46,10.825)])
R(ldo_brahim_cs, Metal2, [(2.28,-1.575,2.485,1.165), (-2.48,-1.48,-2.28,1.035), (-0.485,-0.27,1.115,-0.07), (4.06,-0.27,8.485,-0.07), (2.285,10.31,2.485,11.215), (2.285,11.005,8.29,11.215)])
R(ldo_brahim_cs, Metal2_pin, [(8.295,-0.27,8.485,-0.07), (7.99,11.005,8.29,11.215)])
ldo_brahim_cs.add(gdstk.Reference(nmoshv_5, (-7.29,0.485)))
ldo_brahim_cs.add(gdstk.Reference(nmoshv_2, (-7.29,-10.485)))
ldo_brahim_cs.add(gdstk.Reference(via_stack_14, (-1.1,-0.17)))
ldo_brahim_cs.add(gdstk.Reference(via_stack_14, (1.12,-0.17)))
ldo_brahim_cs.add(gdstk.Reference(via_stack_16, (5.925,-0.005)))
ldo_brahim_cs.add(gdstk.Reference(via_stack_16, (-5.945,-0.005)))
ldo_brahim_cs.add(gdstk.Reference(guard_ring_5, (0,0)))
ldo_brahim_cs.add(gdstk.Reference(via_stack_14, (-3.605,-0.17)))
ldo_brahim_cs.add(gdstk.Reference(via_stack_14, (3.605,-0.17)))
ldo_brahim_cs.add(gdstk.Reference(via_stack_4, (2.385,1.475)))
ldo_brahim_cs.add(gdstk.Reference(via_stack_4, (2.385,-1.47)))
ldo_brahim_cs.add(gdstk.Reference(via_stack_4, (-2.38,1.475)))
ldo_brahim_cs.add(gdstk.Reference(via_stack_4, (-2.38,-1.47)))
ldo_brahim_cs.add(gdstk.Reference(via_stack_4, (2.385,9.72)))
ldo_brahim_cs.add(gdstk.Label('VSS', (0.07,-11.65), layer=8, texttype=2))
ldo_brahim_cs.add(gdstk.Label('VG', (8.485,-0.17), layer=10, texttype=2))
ldo_brahim_cs.add(gdstk.Label('VOUT', (8.285,11.105), layer=10, texttype=2))

via_stack_18 = lib.new_cell('via_stack$18')
R(via_stack_18, Metal1, [(-0.105,-0.965,0.105,0.965)])
R(via_stack_18, Metal2, [(-0.1,-0.965,0.1,0.965)])
A(via_stack_18, Via1, -0.095, -0.915, 0.19, 0.19, 1, 5, 0, 0.41)

ldo_brahim_opamp_2_stage = lib.new_cell('ldo_brahim_opamp_2_stage')
R(ldo_brahim_opamp_2_stage, Activ, [(-7,-24.48,7,-24.44)])
R(ldo_brahim_opamp_2_stage, Metal1, [(8.45,-36.4,8.61,0.295), (8.98,-25.125,9.14,39.13), (-7,-24.48,7,-24.44), (-7.5,14.845,7.5,15.795)])
R(ldo_brahim_opamp_2_stage, Metal2, [(8.26,-36.4,8.63,-36.2), (8.105,-25.125,9.14,-24.915), (2.675,-0.84,2.89,0.58), (-2.87,-0.385,-2.665,0.555), (2.675,0.08,8.61,0.295), (-0.305,15.145,2.48,15.495)])
ldo_brahim_opamp_2_stage.add(gdstk.Reference(ldo_brahim_pair_diff, (3.57,8.13), rotation=pi, x_reflection=True))
ldo_brahim_opamp_2_stage.add(gdstk.Reference(ldo_brahim_mirror, (6.435,-23.805), rotation=pi, x_reflection=True))
ldo_brahim_opamp_2_stage.add(gdstk.Reference(ldo_brahim_tail, (0,32.995)))
ldo_brahim_opamp_2_stage.add(gdstk.Reference(ldo_brahim_cs, (-0.09,-36.13)))
ldo_brahim_opamp_2_stage.add(gdstk.Reference(via_stack_4, (9.06,-24.365)))
ldo_brahim_opamp_2_stage.add(gdstk.Reference(via_stack_4, (8.535,-0.465)))
ldo_brahim_opamp_2_stage.add(gdstk.Reference(via_stack_4, (8.53,-35.64)))
ldo_brahim_opamp_2_stage.add(gdstk.Reference(via_stack_18, (9.085,38.165)))

lib.write_gds('ldo_brahim_opamp_2_stage.gds')
